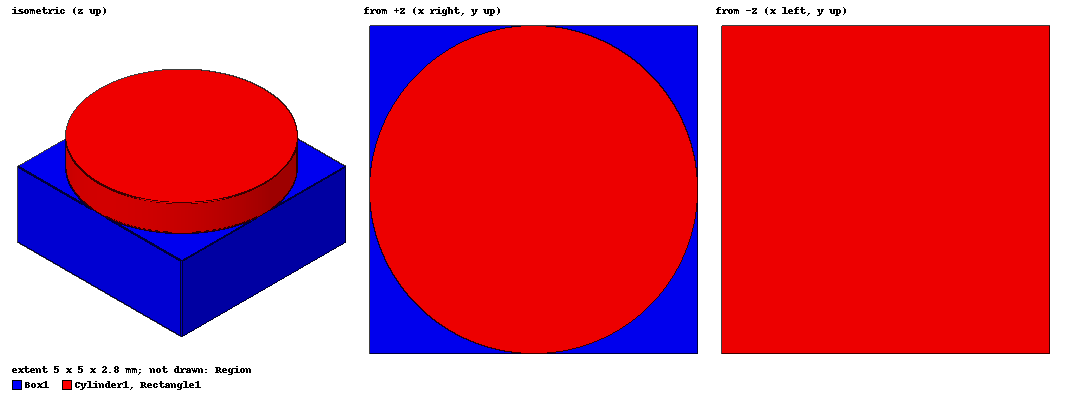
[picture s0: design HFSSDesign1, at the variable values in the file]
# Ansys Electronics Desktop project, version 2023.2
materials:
  vacuum: permittivity=1
  Rogers RT/duroid 5880 (tm): permittivity=2.2 dielectric_loss_tangent=0.0009
  pec: conductivity=1e+30

design HFSSDesign1 (HFSS, HFSS Modal Network, model units mm)
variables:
  Xsize = 5mm
  Ysize = 5mm
  margin = 1mm
  parameters = [2.5, 0.8, 2] mm
  H = parameters[2]
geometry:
  Rectangle1 = rectangle(corner=(0mm, 0mm, 0mm), x_size=Xsize, y_size=Ysize)
  Box1 [Rogers RT/duroid 5880 (tm)] = box(corner=(0mm, 0mm, 0mm), size=(Xsize, Ysize, H))
  Cylinder1 [pec] = cylinder(axis=Z, base_centre=(Xsize/2, Ysize/2, H), radius=parameters[0], height=parameters[1])
  Region [vacuum] = region(absolute_offset: +X=0mm, -X=0mm, +Y=0mm, -Y=0mm, +Z=10mm, -Z=10mm)
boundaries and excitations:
  PerfE1: Perfect E Objects=Rectangle1
  Primary1: Primary Faces=Region.face(+x) CoordSysVector{(5, 0, 12.8) -> (5, 5, 12.8)}
  Primary2: Primary Faces=Region.face(+y) CoordSysVector{(5, 5, 12.8) -> (0, 5, 12.8)}
  Secondary1: Secondary Faces=Region.face(-y) CoordSysVector{(5, 0, 12.8) -> (0, 0, 12.8)} ReverseV primary=Primary2 PhaseDelay=UseScanAngle Phi=0deg Theta=0deg
  Secondary2: Secondary Faces=Region.face(-x) CoordSysVector{(0, 0, 12.8) -> (0, 5, 12.8)} ReverseV primary=Primary1 PhaseDelay=UseScanAngle Phi=0deg Theta=0deg
  FloquetPort1: Floquet Port Faces=Region.face(+z) NumModes=2 DeembedDist=10mm Modes{Mode1{CharImp=Zpi} Mode2{CharImp=Zpi}} PhaseDelay=UseScanAngle Phi=0deg Theta=0deg LatticeAVector{(5, 0, 12.8) -> (5, 5, 12.8)} LatticeBVector{(5, 0, 12.8) -> (0, 0, 12.8)} ModesList{Mode{ModeNumber=1 IndexM=0 IndexN=0 KC2=0 PropagationState=Propagating Attenuation=0 PolarizationState=TE AffectsRefinement} Mode{ModeNumber=2 IndexM=0 IndexN=0 KC2=0 PropagationState=Propagating Attenuation=0 PolarizationState=TM AffectsRefinement}}
  FloquetPort2: Floquet Port Faces=Region.face(-z) NumModes=2 DeembedDist=10mm Modes{Mode1{CharImp=Zpi} Mode2{CharImp=Zpi}} PhaseDelay=UseScanAngle Phi=0deg Theta=0deg LatticeAVector{(5, 0, -10) -> (5, 5, -10)} LatticeBVector{(5, 0, -10) -> (0, 0, -10)} ModesList{Mode{ModeNumber=1 IndexM=0 IndexN=0 KC2=0 PropagationState=Propagating Attenuation=0 PolarizationState=TE AffectsRefinement} Mode{ModeNumber=2 IndexM=0 IndexN=0 KC2=0 PropagationState=Propagating Attenuation=0 PolarizationState=TM AffectsRefinement}}
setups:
  Setup1: HfssDriven Frequency=60GHz MaxDeltaS=0.02 MaximumPasses=10 MinimumPasses=1 MinimumConvergedPasses=1 PercentRefinement=30 BasisOrder=1 PortAccuracy=2 DrivenSolverType="Direct Solver"
    sweep Sweep: 30GHz to 90GHz step 0.1GHz; Type=Interpolating InterpTolerance=0.5 InterpMaxSolns=250 InterpUsePortImped=false PassivityErrorTolerance=0.0001
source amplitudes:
  FloquetPort1:1: 1W 0deg
  FloquetPort1:2, FloquetPort2:1, FloquetPort2:2: 0W 0deg
